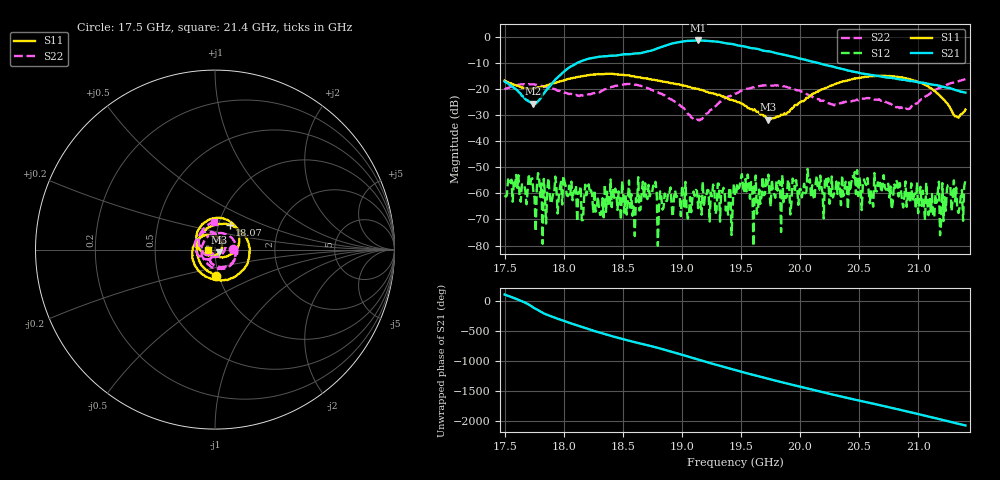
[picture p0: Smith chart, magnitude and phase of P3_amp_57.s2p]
!Created with skrf (http://scikit-rf.org).
# GHz S RI R 50.0
!freq ReS11 ImS11 ReS21 ImS21 ReS12 ImS12 ReS22 ImS22
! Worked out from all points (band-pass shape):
!   401 points, 17.5 GHz to 21.4 GHz, reference 50 ohm
!   highest |S21| = -1.37 dB at 19.14 GHz (marker M1); lowest = -25.6 dB at 17.74 GHz (marker M2)
!   |S21| within 3 dB of the highest: 18.79 GHz to 19.6 GHz (803.5 MHz wide, 4.19 % of centre)
!   lowest |S11| = -31.7 dB at 19.73 GHz (marker M3), VSWR 1.05, Z = 52.1 - j1.59 ohm
!   |S11| at or under -10 dB: start of sweep to end of sweep
!   |S22| runs from -32.0 to -16.2 dB; largest |S21 - S12| = 0.85
!   S11 on the Smith chart (normalised r, x): 17.5 GHz: 0.97, -0.29; 18.07 GHz: 1.13, +0.32; 21.4 GHz: 0.92, -0.00
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17.5  0.0083 -0.1443  -0.061 0.1252  -0.000913 0.000106  0.098 0.00142
17.74375  -0.103 0.018  -0.0111 -0.0513  -0.000799 0.000727  0.0771 -0.0965
18.0655  0.0818 0.1391  0.2702 -0.0442  0.00166 0.000253  -0.0726 -0.0349
18.15325  0.1413 0.1033  0.1318 -0.32  5.15e-05 0.0003  -0.074 0.0188
18.3385  0.1901 -0.0387  -0.4202 0.0118  0.000215 -0.000274  0.0297 0.0921
18.514  0.0988 -0.1581  0.0567 0.4593  -0.000249 -0.000345  0.1243 0.00205
18.60175  0.0261 -0.1706  0.3765 0.2979  -1.77e-06 0.000152  0.1011 -0.0646
18.7675  -0.0888 -0.1211  0.4265 -0.3789  -0.000642 -0.00112  0.00606 -0.091
18.8065  -0.1062 -0.0987  0.2906 -0.5455  0.000278 -0.00045  -0.00831 -0.0831
18.904  -0.1255 -0.0336  -0.3156 -0.6591  -0.00128 -0.000266  -0.0303 -0.0565
19.0015  -0.1158 0.0259  -0.8075 -0.1046  -0.00137 0.000358  -0.0327 -0.0315
19.138  -0.0626 0.0787  -0.2473 0.8174  -0.000517 6.64e-05  -0.0136 -0.022
19.294  0.00032 0.0777  0.7763 0.2395  0.000266 0.000408  -0.0192 -0.0446
19.45  0.0359 0.0484  0.2509 -0.6646  0.000168 0.000891  -0.0661 -0.0485
19.606  0.0375 0.00964  -0.5232 -0.2966  7.82e-05 -5.81e-05  -0.108 -0.00265
19.73275  0.0211 -0.0153  -0.4339 0.302  0.00221 -0.000587  -0.1034 0.0589
19.94725  -0.0333 -0.031  0.3258 0.2514  -0.0015 -0.000873  -0.0212 0.0976
20.10325  -0.0792 -0.00576  0.266 -0.2051  -0.000391 -0.00138  0.0137 0.0692
20.37625  -0.0941 0.1058  -0.2283 -0.0638  -0.000901 0.000731  0.013 0.0541
20.7565  0.0856 0.1561  0.1466 0.0743  -0.00016 0.000816  0.052 -0.00568
21.205  0.0528 -0.0413  -0.1102 0.00562  0.000288 -0.00155  -0.0873 0.0694
21.4  -0.0402 -0.00145  0.00972 0.085  -0.00163 0.000612  -0.0074 0.1545
